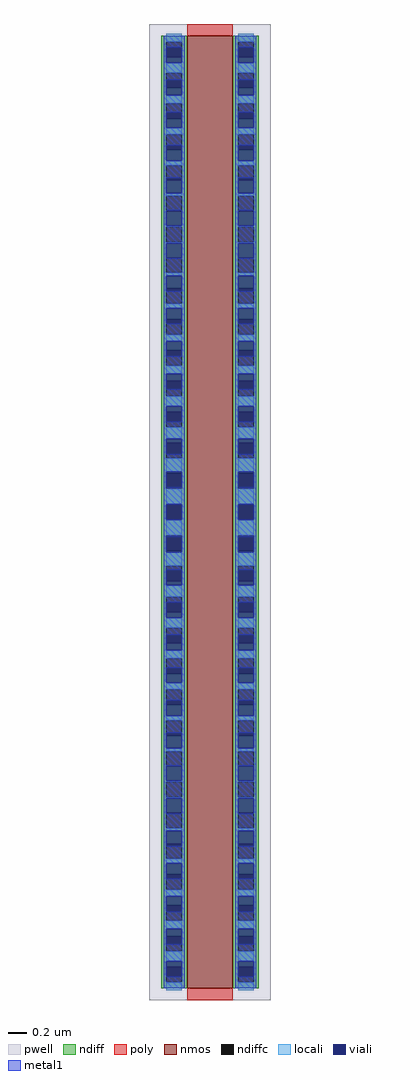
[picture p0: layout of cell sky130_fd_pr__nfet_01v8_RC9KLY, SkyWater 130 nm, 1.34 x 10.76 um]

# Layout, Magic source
magic
tech sky130A
magscale 1 2
<< pwell >>
rect -134 -1076 134 1076
<< nmos >>
rect -50 -1050 50 1050
<< ndiff >>
rect -108 1037 -50 1050
rect -108 1003 -96 1037
rect -62 1003 -50 1037
rect -108 969 -50 1003
rect -108 935 -96 969
rect -62 935 -50 969
rect -108 901 -50 935
rect -108 867 -96 901
rect -62 867 -50 901
rect -108 833 -50 867
rect -108 799 -96 833
rect -62 799 -50 833
rect -108 765 -50 799
rect -108 731 -96 765
rect -62 731 -50 765
rect -108 697 -50 731
rect -108 663 -96 697
rect -62 663 -50 697
rect -108 629 -50 663
rect -108 595 -96 629
rect -62 595 -50 629
rect -108 561 -50 595
rect -108 527 -96 561
rect -62 527 -50 561
rect -108 493 -50 527
rect -108 459 -96 493
rect -62 459 -50 493
rect -108 425 -50 459
rect -108 391 -96 425
rect -62 391 -50 425
rect -108 357 -50 391
rect -108 323 -96 357
rect -62 323 -50 357
rect -108 289 -50 323
rect -108 255 -96 289
rect -62 255 -50 289
rect -108 221 -50 255
rect -108 187 -96 221
rect -62 187 -50 221
rect -108 153 -50 187
rect -108 119 -96 153
rect -62 119 -50 153
rect -108 85 -50 119
rect -108 51 -96 85
rect -62 51 -50 85
rect -108 17 -50 51
rect -108 -17 -96 17
rect -62 -17 -50 17
rect -108 -51 -50 -17
rect -108 -85 -96 -51
rect -62 -85 -50 -51
rect -108 -119 -50 -85
rect -108 -153 -96 -119
rect -62 -153 -50 -119
rect -108 -187 -50 -153
rect -108 -221 -96 -187
rect -62 -221 -50 -187
rect -108 -255 -50 -221
rect -108 -289 -96 -255
rect -62 -289 -50 -255
rect -108 -323 -50 -289
rect -108 -357 -96 -323
rect -62 -357 -50 -323
rect -108 -391 -50 -357
rect -108 -425 -96 -391
rect -62 -425 -50 -391
rect -108 -459 -50 -425
rect -108 -493 -96 -459
rect -62 -493 -50 -459
rect -108 -527 -50 -493
rect -108 -561 -96 -527
rect -62 -561 -50 -527
rect -108 -595 -50 -561
rect -108 -629 -96 -595
rect -62 -629 -50 -595
rect -108 -663 -50 -629
rect -108 -697 -96 -663
rect -62 -697 -50 -663
rect -108 -731 -50 -697
rect -108 -765 -96 -731
rect -62 -765 -50 -731
rect -108 -799 -50 -765
rect -108 -833 -96 -799
rect -62 -833 -50 -799
rect -108 -867 -50 -833
rect -108 -901 -96 -867
rect -62 -901 -50 -867
rect -108 -935 -50 -901
rect -108 -969 -96 -935
rect -62 -969 -50 -935
rect -108 -1003 -50 -969
rect -108 -1037 -96 -1003
rect -62 -1037 -50 -1003
rect -108 -1050 -50 -1037
rect 50 1037 108 1050
rect 50 1003 62 1037
rect 96 1003 108 1037
rect 50 969 108 1003
rect 50 935 62 969
rect 96 935 108 969
rect 50 901 108 935
rect 50 867 62 901
rect 96 867 108 901
rect 50 833 108 867
rect 50 799 62 833
rect 96 799 108 833
rect 50 765 108 799
rect 50 731 62 765
rect 96 731 108 765
rect 50 697 108 731
rect 50 663 62 697
rect 96 663 108 697
rect 50 629 108 663
rect 50 595 62 629
rect 96 595 108 629
rect 50 561 108 595
rect 50 527 62 561
rect 96 527 108 561
rect 50 493 108 527
rect 50 459 62 493
rect 96 459 108 493
rect 50 425 108 459
rect 50 391 62 425
rect 96 391 108 425
rect 50 357 108 391
rect 50 323 62 357
rect 96 323 108 357
rect 50 289 108 323
rect 50 255 62 289
rect 96 255 108 289
rect 50 221 108 255
rect 50 187 62 221
rect 96 187 108 221
rect 50 153 108 187
rect 50 119 62 153
rect 96 119 108 153
rect 50 85 108 119
rect 50 51 62 85
rect 96 51 108 85
rect 50 17 108 51
rect 50 -17 62 17
rect 96 -17 108 17
rect 50 -51 108 -17
rect 50 -85 62 -51
rect 96 -85 108 -51
rect 50 -119 108 -85
rect 50 -153 62 -119
rect 96 -153 108 -119
rect 50 -187 108 -153
rect 50 -221 62 -187
rect 96 -221 108 -187
rect 50 -255 108 -221
rect 50 -289 62 -255
rect 96 -289 108 -255
rect 50 -323 108 -289
rect 50 -357 62 -323
rect 96 -357 108 -323
rect 50 -391 108 -357
rect 50 -425 62 -391
rect 96 -425 108 -391
rect 50 -459 108 -425
rect 50 -493 62 -459
rect 96 -493 108 -459
rect 50 -527 108 -493
rect 50 -561 62 -527
rect 96 -561 108 -527
rect 50 -595 108 -561
rect 50 -629 62 -595
rect 96 -629 108 -595
rect 50 -663 108 -629
rect 50 -697 62 -663
rect 96 -697 108 -663
rect 50 -731 108 -697
rect 50 -765 62 -731
rect 96 -765 108 -731
rect 50 -799 108 -765
rect 50 -833 62 -799
rect 96 -833 108 -799
rect 50 -867 108 -833
rect 50 -901 62 -867
rect 96 -901 108 -867
rect 50 -935 108 -901
rect 50 -969 62 -935
rect 96 -969 108 -935
rect 50 -1003 108 -969
rect 50 -1037 62 -1003
rect 96 -1037 108 -1003
rect 50 -1050 108 -1037
<< ndiffc >>
rect -96 1003 -62 1037
rect -96 935 -62 969
rect -96 867 -62 901
rect -96 799 -62 833
rect -96 731 -62 765
rect -96 663 -62 697
rect -96 595 -62 629
rect -96 527 -62 561
rect -96 459 -62 493
rect -96 391 -62 425
rect -96 323 -62 357
rect -96 255 -62 289
rect -96 187 -62 221
rect -96 119 -62 153
rect -96 51 -62 85
rect -96 -17 -62 17
rect -96 -85 -62 -51
rect -96 -153 -62 -119
rect -96 -221 -62 -187
rect -96 -289 -62 -255
rect -96 -357 -62 -323
rect -96 -425 -62 -391
rect -96 -493 -62 -459
rect -96 -561 -62 -527
rect -96 -629 -62 -595
rect -96 -697 -62 -663
rect -96 -765 -62 -731
rect -96 -833 -62 -799
rect -96 -901 -62 -867
rect -96 -969 -62 -935
rect -96 -1037 -62 -1003
rect 62 1003 96 1037
rect 62 935 96 969
rect 62 867 96 901
rect 62 799 96 833
rect 62 731 96 765
rect 62 663 96 697
rect 62 595 96 629
rect 62 527 96 561
rect 62 459 96 493
rect 62 391 96 425
rect 62 323 96 357
rect 62 255 96 289
rect 62 187 96 221
rect 62 119 96 153
rect 62 51 96 85
rect 62 -17 96 17
rect 62 -85 96 -51
rect 62 -153 96 -119
rect 62 -221 96 -187
rect 62 -289 96 -255
rect 62 -357 96 -323
rect 62 -425 96 -391
rect 62 -493 96 -459
rect 62 -561 96 -527
rect 62 -629 96 -595
rect 62 -697 96 -663
rect 62 -765 96 -731
rect 62 -833 96 -799
rect 62 -901 96 -867
rect 62 -969 96 -935
rect 62 -1037 96 -1003
<< poly >>
rect -50 1050 50 1076
rect -50 -1076 50 -1050
<< locali >>
rect -96 1037 -62 1054
rect -96 969 -62 991
rect -96 901 -62 919
rect -96 833 -62 847
rect -96 765 -62 775
rect -96 697 -62 703
rect -96 629 -62 631
rect -96 593 -62 595
rect -96 521 -62 527
rect -96 449 -62 459
rect -96 377 -62 391
rect -96 305 -62 323
rect -96 233 -62 255
rect -96 161 -62 187
rect -96 89 -62 119
rect -96 17 -62 51
rect -96 -51 -62 -17
rect -96 -119 -62 -89
rect -96 -187 -62 -161
rect -96 -255 -62 -233
rect -96 -323 -62 -305
rect -96 -391 -62 -377
rect -96 -459 -62 -449
rect -96 -527 -62 -521
rect -96 -595 -62 -593
rect -96 -631 -62 -629
rect -96 -703 -62 -697
rect -96 -775 -62 -765
rect -96 -847 -62 -833
rect -96 -919 -62 -901
rect -96 -991 -62 -969
rect -96 -1054 -62 -1037
rect 62 1037 96 1054
rect 62 969 96 991
rect 62 901 96 919
rect 62 833 96 847
rect 62 765 96 775
rect 62 697 96 703
rect 62 629 96 631
rect 62 593 96 595
rect 62 521 96 527
rect 62 449 96 459
rect 62 377 96 391
rect 62 305 96 323
rect 62 233 96 255
rect 62 161 96 187
rect 62 89 96 119
rect 62 17 96 51
rect 62 -51 96 -17
rect 62 -119 96 -89
rect 62 -187 96 -161
rect 62 -255 96 -233
rect 62 -323 96 -305
rect 62 -391 96 -377
rect 62 -459 96 -449
rect 62 -527 96 -521
rect 62 -595 96 -593
rect 62 -631 96 -629
rect 62 -703 96 -697
rect 62 -775 96 -765
rect 62 -847 96 -833
rect 62 -919 96 -901
rect 62 -991 96 -969
rect 62 -1054 96 -1037
<< viali >>
rect -96 1003 -62 1025
rect -96 991 -62 1003
rect -96 935 -62 953
rect -96 919 -62 935
rect -96 867 -62 881
rect -96 847 -62 867
rect -96 799 -62 809
rect -96 775 -62 799
rect -96 731 -62 737
rect -96 703 -62 731
rect -96 663 -62 665
rect -96 631 -62 663
rect -96 561 -62 593
rect -96 559 -62 561
rect -96 493 -62 521
rect -96 487 -62 493
rect -96 425 -62 449
rect -96 415 -62 425
rect -96 357 -62 377
rect -96 343 -62 357
rect -96 289 -62 305
rect -96 271 -62 289
rect -96 221 -62 233
rect -96 199 -62 221
rect -96 153 -62 161
rect -96 127 -62 153
rect -96 85 -62 89
rect -96 55 -62 85
rect -96 -17 -62 17
rect -96 -85 -62 -55
rect -96 -89 -62 -85
rect -96 -153 -62 -127
rect -96 -161 -62 -153
rect -96 -221 -62 -199
rect -96 -233 -62 -221
rect -96 -289 -62 -271
rect -96 -305 -62 -289
rect -96 -357 -62 -343
rect -96 -377 -62 -357
rect -96 -425 -62 -415
rect -96 -449 -62 -425
rect -96 -493 -62 -487
rect -96 -521 -62 -493
rect -96 -561 -62 -559
rect -96 -593 -62 -561
rect -96 -663 -62 -631
rect -96 -665 -62 -663
rect -96 -731 -62 -703
rect -96 -737 -62 -731
rect -96 -799 -62 -775
rect -96 -809 -62 -799
rect -96 -867 -62 -847
rect -96 -881 -62 -867
rect -96 -935 -62 -919
rect -96 -953 -62 -935
rect -96 -1003 -62 -991
rect -96 -1025 -62 -1003
rect 62 1003 96 1025
rect 62 991 96 1003
rect 62 935 96 953
rect 62 919 96 935
rect 62 867 96 881
rect 62 847 96 867
rect 62 799 96 809
rect 62 775 96 799
rect 62 731 96 737
rect 62 703 96 731
rect 62 663 96 665
rect 62 631 96 663
rect 62 561 96 593
rect 62 559 96 561
rect 62 493 96 521
rect 62 487 96 493
rect 62 425 96 449
rect 62 415 96 425
rect 62 357 96 377
rect 62 343 96 357
rect 62 289 96 305
rect 62 271 96 289
rect 62 221 96 233
rect 62 199 96 221
rect 62 153 96 161
rect 62 127 96 153
rect 62 85 96 89
rect 62 55 96 85
rect 62 -17 96 17
rect 62 -85 96 -55
rect 62 -89 96 -85
rect 62 -153 96 -127
rect 62 -161 96 -153
rect 62 -221 96 -199
rect 62 -233 96 -221
rect 62 -289 96 -271
rect 62 -305 96 -289
rect 62 -357 96 -343
rect 62 -377 96 -357
rect 62 -425 96 -415
rect 62 -449 96 -425
rect 62 -493 96 -487
rect 62 -521 96 -493
rect 62 -561 96 -559
rect 62 -593 96 -561
rect 62 -663 96 -631
rect 62 -665 96 -663
rect 62 -731 96 -703
rect 62 -737 96 -731
rect 62 -799 96 -775
rect 62 -809 96 -799
rect 62 -867 96 -847
rect 62 -881 96 -867
rect 62 -935 96 -919
rect 62 -953 96 -935
rect 62 -1003 96 -991
rect 62 -1025 96 -1003
<< metal1 >>
rect -102 1025 -56 1050
rect -102 991 -96 1025
rect -62 991 -56 1025
rect -102 953 -56 991
rect -102 919 -96 953
rect -62 919 -56 953
rect -102 881 -56 919
rect -102 847 -96 881
rect -62 847 -56 881
rect -102 809 -56 847
rect -102 775 -96 809
rect -62 775 -56 809
rect -102 737 -56 775
rect -102 703 -96 737
rect -62 703 -56 737
rect -102 665 -56 703
rect -102 631 -96 665
rect -62 631 -56 665
rect -102 593 -56 631
rect -102 559 -96 593
rect -62 559 -56 593
rect -102 521 -56 559
rect -102 487 -96 521
rect -62 487 -56 521
rect -102 449 -56 487
rect -102 415 -96 449
rect -62 415 -56 449
rect -102 377 -56 415
rect -102 343 -96 377
rect -62 343 -56 377
rect -102 305 -56 343
rect -102 271 -96 305
rect -62 271 -56 305
rect -102 233 -56 271
rect -102 199 -96 233
rect -62 199 -56 233
rect -102 161 -56 199
rect -102 127 -96 161
rect -62 127 -56 161
rect -102 89 -56 127
rect -102 55 -96 89
rect -62 55 -56 89
rect -102 17 -56 55
rect -102 -17 -96 17
rect -62 -17 -56 17
rect -102 -55 -56 -17
rect -102 -89 -96 -55
rect -62 -89 -56 -55
rect -102 -127 -56 -89
rect -102 -161 -96 -127
rect -62 -161 -56 -127
rect -102 -199 -56 -161
rect -102 -233 -96 -199
rect -62 -233 -56 -199
rect -102 -271 -56 -233
rect -102 -305 -96 -271
rect -62 -305 -56 -271
rect -102 -343 -56 -305
rect -102 -377 -96 -343
rect -62 -377 -56 -343
rect -102 -415 -56 -377
rect -102 -449 -96 -415
rect -62 -449 -56 -415
rect -102 -487 -56 -449
rect -102 -521 -96 -487
rect -62 -521 -56 -487
rect -102 -559 -56 -521
rect -102 -593 -96 -559
rect -62 -593 -56 -559
rect -102 -631 -56 -593
rect -102 -665 -96 -631
rect -62 -665 -56 -631
rect -102 -703 -56 -665
rect -102 -737 -96 -703
rect -62 -737 -56 -703
rect -102 -775 -56 -737
rect -102 -809 -96 -775
rect -62 -809 -56 -775
rect -102 -847 -56 -809
rect -102 -881 -96 -847
rect -62 -881 -56 -847
rect -102 -919 -56 -881
rect -102 -953 -96 -919
rect -62 -953 -56 -919
rect -102 -991 -56 -953
rect -102 -1025 -96 -991
rect -62 -1025 -56 -991
rect -102 -1050 -56 -1025
rect 56 1025 102 1050
rect 56 991 62 1025
rect 96 991 102 1025
rect 56 953 102 991
rect 56 919 62 953
rect 96 919 102 953
rect 56 881 102 919
rect 56 847 62 881
rect 96 847 102 881
rect 56 809 102 847
rect 56 775 62 809
rect 96 775 102 809
rect 56 737 102 775
rect 56 703 62 737
rect 96 703 102 737
rect 56 665 102 703
rect 56 631 62 665
rect 96 631 102 665
rect 56 593 102 631
rect 56 559 62 593
rect 96 559 102 593
rect 56 521 102 559
rect 56 487 62 521
rect 96 487 102 521
rect 56 449 102 487
rect 56 415 62 449
rect 96 415 102 449
rect 56 377 102 415
rect 56 343 62 377
rect 96 343 102 377
rect 56 305 102 343
rect 56 271 62 305
rect 96 271 102 305
rect 56 233 102 271
rect 56 199 62 233
rect 96 199 102 233
rect 56 161 102 199
rect 56 127 62 161
rect 96 127 102 161
rect 56 89 102 127
rect 56 55 62 89
rect 96 55 102 89
rect 56 17 102 55
rect 56 -17 62 17
rect 96 -17 102 17
rect 56 -55 102 -17
rect 56 -89 62 -55
rect 96 -89 102 -55
rect 56 -127 102 -89
rect 56 -161 62 -127
rect 96 -161 102 -127
rect 56 -199 102 -161
rect 56 -233 62 -199
rect 96 -233 102 -199
rect 56 -271 102 -233
rect 56 -305 62 -271
rect 96 -305 102 -271
rect 56 -343 102 -305
rect 56 -377 62 -343
rect 96 -377 102 -343
rect 56 -415 102 -377
rect 56 -449 62 -415
rect 96 -449 102 -415
rect 56 -487 102 -449
rect 56 -521 62 -487
rect 96 -521 102 -487
rect 56 -559 102 -521
rect 56 -593 62 -559
rect 96 -593 102 -559
rect 56 -631 102 -593
rect 56 -665 62 -631
rect 96 -665 102 -631
rect 56 -703 102 -665
rect 56 -737 62 -703
rect 96 -737 102 -703
rect 56 -775 102 -737
rect 56 -809 62 -775
rect 96 -809 102 -775
rect 56 -847 102 -809
rect 56 -881 62 -847
rect 96 -881 102 -847
rect 56 -919 102 -881
rect 56 -953 62 -919
rect 96 -953 102 -919
rect 56 -991 102 -953
rect 56 -1025 62 -991
rect 96 -1025 102 -991
rect 56 -1050 102 -1025
<< end >>
